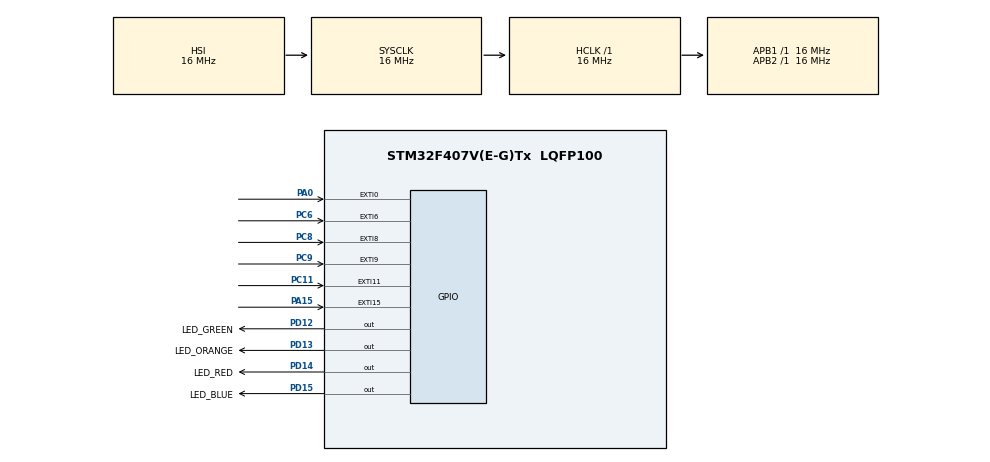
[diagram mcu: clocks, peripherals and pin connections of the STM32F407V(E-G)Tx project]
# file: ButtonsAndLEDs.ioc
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Mcu.Family=STM32F4
Mcu.Name=STM32F407V(E-G)Tx
Mcu.Package=LQFP100
NVIC.EXTI0_IRQn=true\:0\:0\:false\:false\:true\:true\:true\:true
NVIC.EXTI15_10_IRQn=true\:0\:0\:false\:false\:true\:true\:true\:true
NVIC.EXTI9_5_IRQn=true\:0\:0\:false\:false\:true\:true\:true\:true
NVIC.PriorityGroup=NVIC_PRIORITYGROUP_4
PA0-WKUP.Signal=GPXTI0
PA15.GPIO_ModeDefaultEXTI=GPIO_MODE_IT_FALLING
PA15.Signal=GPXTI15
PC11.GPIO_ModeDefaultEXTI=GPIO_MODE_IT_FALLING
PC11.Signal=GPXTI11
PC6.GPIO_ModeDefaultEXTI=GPIO_MODE_IT_FALLING
PC6.GPIO_PuPd=GPIO_NOPULL
PC6.Signal=GPXTI6
PC8.GPIO_ModeDefaultEXTI=GPIO_MODE_IT_FALLING
PC8.Signal=GPXTI8
PC9.GPIO_ModeDefaultEXTI=GPIO_MODE_IT_FALLING
PC9.Signal=GPXTI9
PD12.GPIO_Label=LED_GREEN
PD12.Signal=GPIO_Output
PD13.GPIO_Label=LED_ORANGE
PD13.Signal=GPIO_Output
PD14.GPIO_Label=LED_RED
PD14.Signal=GPIO_Output
PD15.GPIO_Label=LED_BLUE
PD15.Signal=GPIO_Output
ProjectManager.HeapSize=0x200
ProjectManager.StackSize=0x400
ProjectManager.TargetToolchain=STM32CubeIDE
RCC.AHBFreq_Value=16000000
RCC.APB1Freq_Value=16000000
RCC.APB2Freq_Value=16000000
RCC.CortexFreq_Value=16000000
RCC.HSE_VALUE=25000000
RCC.HSI_VALUE=16000000
RCC.LSE_VALUE=32768
RCC.SYSCLKFreq_VALUE=16000000
RCC.VCOOutputFreq_Value=192000000
board=custom

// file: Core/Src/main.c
/* USER CODE BEGIN Header */
/**
  ******************************************************************************
  * @file           : main.c
  * @brief          : Main program body
  ******************************************************************************
  * @attention
  *
  * Copyright (c) 2026 STMicroelectronics.
  * All rights reserved.
  *
  * This software is licensed under terms that can be found in the LICENSE file
  * in the root directory of this software component.
  * If no LICENSE file comes with this software, it is provided AS-IS.
  *
  ******************************************************************************
  */
/* USER CODE END Header */
#include "main.h"

/* USER CODE BEGIN PTD */
typedef struct
{
	uint8_t ledMask;
	uint32_t duration;

} BlinkPatternStep;

typedef struct
{
	const BlinkPatternStep *steps;
	uint8_t stepCount;

} BlinkPattern;
/* USER CODE END PTD */

/* USER CODE BEGIN PD */
#define PIN_BUTTON_MID GPIO_PIN_15
#define PIN_BUTTON_LEFT GPIO_PIN_8
#define PIN_BUTTON_RIGHT GPIO_PIN_6
#define PIN_BUTTON_UP GPIO_PIN_9
#define PIN_BUTTON_DOWN GPIO_PIN_11
#define MIN_BLINK_DELAY 100
#define MAX_BLINK_DELAY 1000
/* USER CODE END PD */

/* USER CODE BEGIN PV */
volatile uint8_t blinkingEnabled = 0;
volatile uint8_t changePatternFlag = 0;
volatile uint8_t patternIndex = 0;
volatile uint16_t blinkDelay = 200;
/* USER CODE END PV */

void SystemClock_Config(void);
static void MX_GPIO_Init(void);
/* USER CODE BEGIN PFP */

/**
 * @brief Decodes the active pattern and sets LED states.
 * Uses 'static' variables to remember the current step between function calls
 * without blocking the main loop. Resets the step if a new pattern is detected.
 */
void setLEDs(const BlinkPattern *blinkPattern)
{
	static uint8_t currentStep = 0;
	static const BlinkPattern *lastPattern = NULL;

	// Reset step counter for new pattern
	if(blinkPattern != lastPattern)
	{
		currentStep = 0;
		lastPattern = blinkPattern;
	}

	uint8_t mask = blinkPattern->steps[currentStep].ledMask;
	uint8_t duration = blinkPattern->steps[currentStep].duration;

	HAL_GPIO_WritePin(GPIOD, LED_BLUE_Pin, (mask & 0b0001) ? GPIO_PIN_SET : GPIO_PIN_RESET);
	HAL_GPIO_WritePin(GPIOD, LED_RED_Pin, (mask & 0b0010) ? GPIO_PIN_SET : GPIO_PIN_RESET);
	HAL_GPIO_WritePin(GPIOD, LED_ORANGE_Pin,(mask & 0b0100) ? GPIO_PIN_SET : GPIO_PIN_RESET);
	HAL_GPIO_WritePin(GPIOD, LED_GREEN_Pin,(mask & 0b1000) ? GPIO_PIN_SET : GPIO_PIN_RESET);

	HAL_Delay(blinkDelay*duration);

	currentStep = (currentStep + 1) % blinkPattern->stepCount;
}
/* USER CODE END PFP */

/* USER CODE BEGIN 0 */

//=============== Pattern definition section ================
// 1000 -- green, 0100 -- orange, 0010 -- red, 0001 -- blue
const BlinkPatternStep pattern_allBlink[] =
{
		{0b1111, 2},
		{0b0000, 2}
};

const BlinkPatternStep pattern_twoDiodes[] =
{
		{0b1010, 2},
		{0b0101, 2}
};
const BlinkPatternStep pattern_police[] =
{
		{0b0011, 1},
		{0b0000, 1},
		{0b0011, 1},
		{0b0000, 5}
};
const BlinkPatternStep pattern_snake[] =
{
		{0b1100, 1},
		{0b0110, 1},
		{0b0011, 1},
		{0b1001, 1}
};
//============== Pattern definition section END ==============

const BlinkPattern blinkPatterns[] =
{
		{pattern_snake, sizeof(pattern_snake)/sizeof(pattern_snake[0])},
		{pattern_allBlink, sizeof(pattern_allBlink)/sizeof(pattern_allBlink[0])},
		{pattern_police, sizeof(pattern_police)/sizeof(pattern_police[0])},
		{pattern_twoDiodes, sizeof(pattern_twoDiodes)/sizeof(pattern_twoDiodes[0])}
};

const uint8_t numberOfPatterns = sizeof(blinkPatterns)/sizeof(blinkPatterns[0]);
/* USER CODE END 0 */

int main(void)
{

  /* MCU Configuration--------------------------------------------------------*/

  /* Reset of all peripherals, Initializes the Flash interface and the Systick. */
  HAL_Init();

  /* Configure the system clock */
  SystemClock_Config();

  /* Initialize all configured peripherals */
  MX_GPIO_Init();
  /* USER CODE BEGIN 2 */
  const BlinkPattern *currentPattern = &blinkPatterns[0];
  /* USER CODE END 2 */

  /* Infinite loop */
  /* USER CODE BEGIN WHILE */
  while (1)
  {
	  if(blinkingEnabled)
	  {
		  // Check if ISR requested a pattern change
		  if(changePatternFlag)
		  {
			  currentPattern = &blinkPatterns[patternIndex];
			  changePatternFlag = 0; // Clear the flag after the change
		  }

		  // Execute led blinking if enabled
		  setLEDs(currentPattern);
	  }

    /* USER CODE END WHILE */

  }
}

void SystemClock_Config(void)
{
  RCC_OscInitTypeDef RCC_OscInitStruct = {0};
  RCC_ClkInitTypeDef RCC_ClkInitStruct = {0};

  /** Configure the main internal regulator output voltage
  */
  __HAL_RCC_PWR_CLK_ENABLE();
  __HAL_PWR_VOLTAGESCALING_CONFIG(PWR_REGULATOR_VOLTAGE_SCALE1);

  /** Initializes the RCC Oscillators according to the specified parameters
  * in the RCC_OscInitTypeDef structure.
  */
  RCC_OscInitStruct.OscillatorType = RCC_OSCILLATORTYPE_HSI;
  RCC_OscInitStruct.HSIState = RCC_HSI_ON;
  RCC_OscInitStruct.HSICalibrationValue = RCC_HSICALIBRATION_DEFAULT;
  RCC_OscInitStruct.PLL.PLLState = RCC_PLL_NONE;
  if (HAL_RCC_OscConfig(&RCC_OscInitStruct) != HAL_OK)
  {
    Error_Handler();
  }

  /** Initializes the CPU, AHB and APB buses clocks
  */
  RCC_ClkInitStruct.ClockType = RCC_CLOCKTYPE_HCLK|RCC_CLOCKTYPE_SYSCLK
                              |RCC_CLOCKTYPE_PCLK1|RCC_CLOCKTYPE_PCLK2;
  RCC_ClkInitStruct.SYSCLKSource = RCC_SYSCLKSOURCE_HSI;
  RCC_ClkInitStruct.AHBCLKDivider = RCC_SYSCLK_DIV1;
  RCC_ClkInitStruct.APB1CLKDivider = RCC_HCLK_DIV1;
  RCC_ClkInitStruct.APB2CLKDivider = RCC_HCLK_DIV1;

  if (HAL_RCC_ClockConfig(&RCC_ClkInitStruct, FLASH_LATENCY_0) != HAL_OK)
  {
    Error_Handler();
  }
}

static void MX_GPIO_Init(void)
{
  GPIO_InitTypeDef GPIO_InitStruct = {0};

  /* GPIO Ports Clock Enable */
  __HAL_RCC_GPIOA_CLK_ENABLE();
  __HAL_RCC_GPIOD_CLK_ENABLE();
  __HAL_RCC_GPIOC_CLK_ENABLE();

  /*Configure GPIO pin Output Level */
  HAL_GPIO_WritePin(GPIOD, LED_GREEN_Pin|LED_ORANGE_Pin|LED_RED_Pin|LED_BLUE_Pin, GPIO_PIN_RESET);

  /*Configure GPIO pin : PA0 */
  GPIO_InitStruct.Pin = GPIO_PIN_0;
  GPIO_InitStruct.Mode = GPIO_MODE_IT_RISING;
  GPIO_InitStruct.Pull = GPIO_NOPULL;
  HAL_GPIO_Init(GPIOA, &GPIO_InitStruct);

  /*Configure GPIO pins : LED_GREEN_Pin LED_ORANGE_Pin LED_RED_Pin LED_BLUE_Pin */
  GPIO_InitStruct.Pin = LED_GREEN_Pin|LED_ORANGE_Pin|LED_RED_Pin|LED_BLUE_Pin;
  GPIO_InitStruct.Mode = GPIO_MODE_OUTPUT_PP;
  GPIO_InitStruct.Pull = GPIO_NOPULL;
  GPIO_InitStruct.Speed = GPIO_SPEED_FREQ_LOW;
  HAL_GPIO_Init(GPIOD, &GPIO_InitStruct);

  /*Configure GPIO pins : PC6 PC8 PC9 PC11 */
  GPIO_InitStruct.Pin = GPIO_PIN_6|GPIO_PIN_8|GPIO_PIN_9|GPIO_PIN_11;
  GPIO_InitStruct.Mode = GPIO_MODE_IT_FALLING;
  GPIO_InitStruct.Pull = GPIO_NOPULL;
  HAL_GPIO_Init(GPIOC, &GPIO_InitStruct);

  /*Configure GPIO pin : PA15 */
  GPIO_InitStruct.Pin = GPIO_PIN_15;
  GPIO_InitStruct.Mode = GPIO_MODE_IT_FALLING;
  GPIO_InitStruct.Pull = GPIO_NOPULL;
  HAL_GPIO_Init(GPIOA, &GPIO_InitStruct);

  /* EXTI interrupt init*/
  HAL_NVIC_SetPriority(EXTI0_IRQn, 0, 0);
  HAL_NVIC_EnableIRQ(EXTI0_IRQn);

  HAL_NVIC_SetPriority(EXTI9_5_IRQn, 0, 0);
  HAL_NVIC_EnableIRQ(EXTI9_5_IRQn);

  HAL_NVIC_SetPriority(EXTI15_10_IRQn, 0, 0);
  HAL_NVIC_EnableIRQ(EXTI15_10_IRQn);

}

/* USER CODE BEGIN 4 */
void HAL_GPIO_EXTI_Callback(uint16_t GPIO_Pin)
{
	switch(GPIO_Pin)
	{
		// Button start/stop blinking
		case PIN_BUTTON_MID:
			blinkingEnabled = !blinkingEnabled;

			// Turn off LEDs to ensure they don't freeze
			// in the ON state when blinking is paused.
			if(!blinkingEnabled)
			{
				HAL_GPIO_WritePin(GPIOD, LED_GREEN_Pin|LED_ORANGE_Pin|LED_RED_Pin|LED_BLUE_Pin, GPIO_PIN_RESET);
			}
			break;

		// Button previous pattern
		case PIN_BUTTON_LEFT:

			if(patternIndex == 0)
			{
				patternIndex = numberOfPatterns - 1;

			} else {

				patternIndex--;
			}

			changePatternFlag = 1;

			break;

		// Button next pattern
		case PIN_BUTTON_RIGHT:

			patternIndex = (patternIndex + 1) % numberOfPatterns;
			changePatternFlag = 1;

			break;

		// Button speed up by 50 ms
		case PIN_BUTTON_UP:
			if(blinkDelay > MIN_BLINK_DELAY) blinkDelay -= 50;
			break;

		// Button slow down by 50 ms
		case PIN_BUTTON_DOWN:
			if(blinkDelay < MAX_BLINK_DELAY) blinkDelay += 50;
			break;

		default:
			break;
	}
}
/* USER CODE END 4 */

void Error_Handler(void)
{
  __disable_irq();
  while (1)
  {
  }
}
